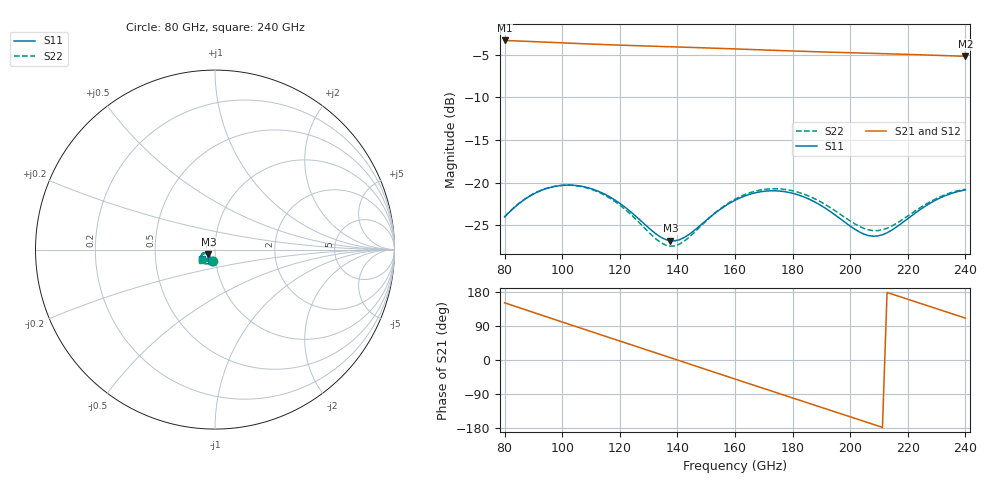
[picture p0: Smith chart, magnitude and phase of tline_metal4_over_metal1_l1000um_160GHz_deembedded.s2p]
! Created with skrf 2.2.0 (http://scikit-rf.org).
# GHz S DB R 50.0
! Port[1] = P1
! Port[2] = P2
!freq dBS11 angS11 dBS21 angS21 dBS12 angS12 dBS22 angS22
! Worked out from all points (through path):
!   101 points, 80 GHz to 240 GHz, reference 50 ohm
!   highest |S21| = -3.31 dB at 80 GHz (marker M1); lowest = -5.2 dB at 240 GHz (marker M2)
!   group delay of S21, straight-line fit = 6.95 ps
!   lowest |S11| = -26.8 dB at 137.6 GHz (marker M3), VSWR 1.10, Z = 46.4 - j2.43 ohm
!   |S11| at or under -10 dB: start of sweep to end of sweep
!   |S22| runs from -27.5 to -20.3 dB; largest |S21 - S12| = 1.1e-13
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80  -24.04 -104.1  -3.31 151.0  -3.31 151.0  -24.02 -101.8
88  -21.74 -111.3  -3.42 130.6  -3.42 130.6  -21.70 -109.8
94.4  -20.71 -121.0  -3.51 114.4  -3.51 114.4  -20.69 -119.8
100.8  -20.31 -131.6  -3.60 98.3  -3.60 98.3  -20.31 -130.8
107.2  -20.47 -142.1  -3.69 82.2  -3.69 82.2  -20.51 -141.5
113.6  -21.17 -151.5  -3.78 66.1  -3.78 66.1  -21.28 -151.2
121.6  -22.84 -159.7  -3.88 46.1  -3.88 46.1  -23.08 -159.6
134.4  -26.45 -152.3  -4.02 14.0  -4.02 14.0  -27.08 -150.1
137.6  -26.84 -144.9  -4.05 6.0  -4.05 6.0  -27.47 -141.3
142.4  -26.45 -133.6  -4.10 -6.0  -4.10 -6.0  -26.87 -128.3
148.8  -24.78 -125.6  -4.17 -22.1  -4.17 -22.1  -24.89 -120.1
160  -22.08 -129.7  -4.30 -50.2  -4.30 -50.2  -21.95 -125.1
166.4  -21.25 -136.8  -4.38 -66.2  -4.38 -66.2  -21.06 -132.6
172.8  -20.97 -145.0  -4.46 -82.2  -4.46 -82.2  -20.73 -140.9
179.2  -21.19 -153.0  -4.54 -98.1  -4.54 -98.1  -20.91 -149.1
187.2  -22.19 -161.1  -4.62 -118.0  -4.62 -118.0  -21.82 -157.4
201.6  -25.48 -159.8  -4.77 -153.9  -4.77 -153.9  -24.85 -157.3
208  -26.30 -148.1  -4.83 -169.8  -4.83 -169.8  -25.64 -147.3
214.4  -25.59 -135.8  -4.89 174.2  -4.89 174.2  -25.11 -136.3
225.6  -22.87 -130.8  -5.01 146.3  -5.01 146.3  -22.67 -131.1
233.6  -21.46 -136.3  -5.10 126.4  -5.10 126.4  -21.34 -136.3
240  -20.87 -143.0  -5.17 110.5  -5.17 110.5  -20.78 -142.6
